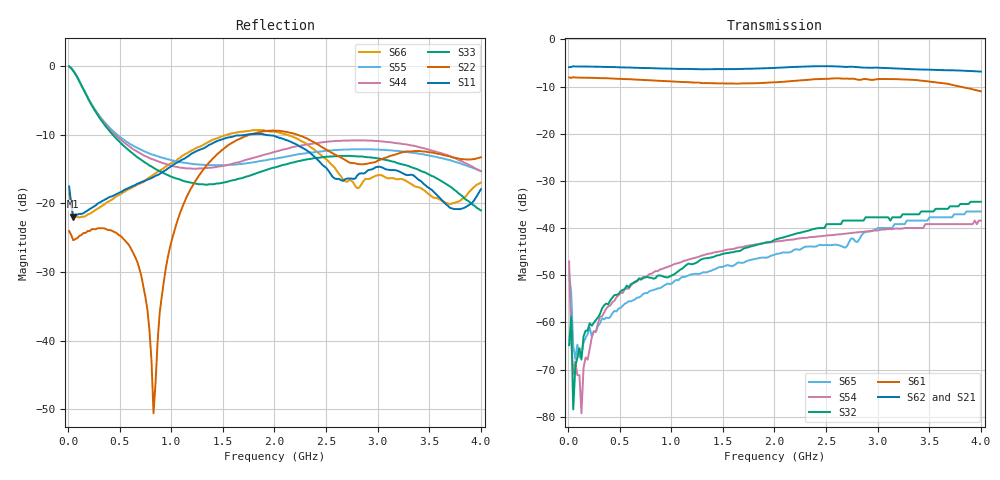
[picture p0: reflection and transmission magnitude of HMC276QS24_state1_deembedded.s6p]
! Hittite Microwave Corporation
! 20 Alpha Road
! Chelmsford, MA 01824
! Tel: 978-250-3343
! Fax: 978-250-3373
! Device: HMC276QS24, 0.7-3.0 GHz, GaAS MMIC 4x2 Switch Matrix in 24-lead QSOP package
! Misc: Data was de-embedded to package pins.
!  Port 1 = OP1
!  Port 2 = VL
!  Port 3 = VH
!  Port 4 = HH
!  Port 5 = HL
!  Port 6 = OP2
!  Vdd = +5 V
!  Vctl = 0 V[Logic 0] / +5 V[Logic 1]
!  State 01,  VL to OP1,  VL to OP2
!  Control Lines (Logic)
!  HV 1 = 0, Tone 1 = 0
!  HV 2 = 0, Tone 2 = 0
!  Data reformated to new Touchstone file format - Wed Jan 10 10:45:23 2007
# MHz S DB R 50
! 6 Port Network Data
! freq  dbS11  angS11  dbS12  angS12  dbS13  angS13  dbS14  angS14
!  dbS15  angS15  dbS16  angS16
!  dbS21  angS21  dbS22  angS22
!  dbS23  angS23  dbS24  angS24  dbS25  angS25  dbS26  angS26
!  dbS31  angS31  dbS32  angS32  dbS33  angS33  dbS34  angS34
!  dbS35  angS35  dbS36  angS36
!  dbS41  angS41  dbS42  angS42
!  dbS43  angS43  dbS44  angS44  dbS45  angS45  dbS46  angS46
!  dbS51  angS51  dbS52  angS52  dbS53  angS53  dbS54  angS54
!  dbS55  angS55  dbS56  angS56
!  dbS61  angS61  dbS62  angS62
!  dbS63  angS63  dbS64  angS64  dbS65  angS65  dbS66  angS66
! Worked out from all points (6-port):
!   201 points, 10 MHz to 4 GHz, reference 50 ohm
!   strongest paths, dB at 10 MHz, 1.008 GHz, 2.005 GHz, 3.002 GHz, 4 GHz:
!     S62: -5.9, -6.2, -6.0, -6.0, -6.8
!     S21: -5.7, -6.2, -6.0, -6.1, -6.9
!     S61: -8.0, -8.9, -9.1, -8.4, -11.0
!     S32: -64.8, -50.1, -42.5, -37.7, -34.4
!     S54: -47.1, -47.9, -42.9, -40.5, -38.4
!     S65: -49.6, -51.7, -45.6, -40.0, -36.5
!   lowest |S11| = -21.9 dB at 49.9 MHz (marker M1), VSWR 1.17, Z = 58 - j3.2 ohm
!   |S11| at or under -10 dB: start of sweep to 1.727 GHz; 1.913 GHz to end of sweep
